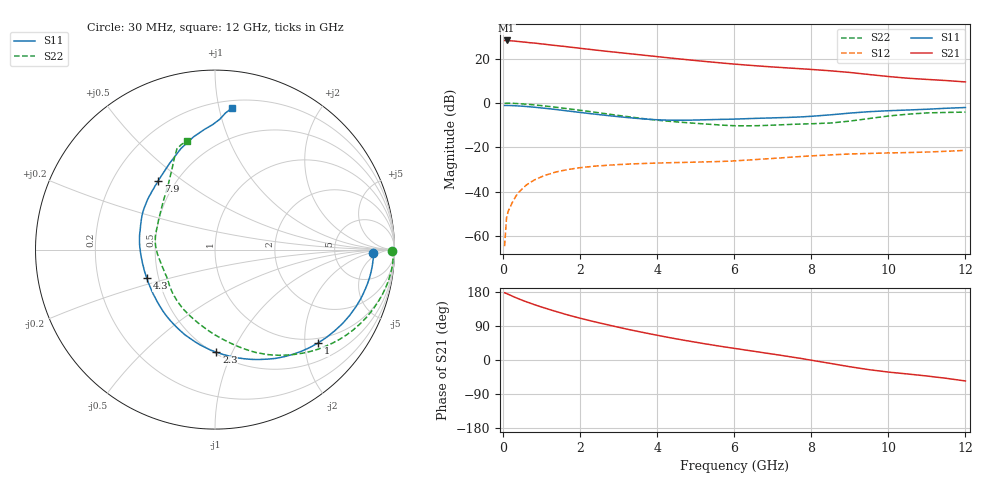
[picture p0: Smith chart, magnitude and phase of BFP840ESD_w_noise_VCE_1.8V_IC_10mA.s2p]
! Infineon Technologies  Discrete & RF Semiconductors
! BFP840ESD
! VCE =  1.8 V,  IC =  10 mA
! Common Emitter S-Parameters:  May 2012
# GHz  S  MA  R  50
!  f  S11  S21  S12  S22
! GHz  MAG  ANG  MAG  ANG  MAG  ANG  MAG  ANG
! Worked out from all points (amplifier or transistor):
!   93 points, 30 MHz to 12 GHz, reference 50 ohm
!   highest |S21| = 28.2 dB at 80 MHz (marker M1)
!   |S21| within 3 dB of that: start of sweep to 1.738 GHz
!   unconditionally stable (mu >= 1): 5.505 GHz to 9.382 GHz
!   at 1.1 GHz: K = 0.27, MSG = 29.4 dB, |S12| = -32.4 dB
!   at 4.2 GHz: K = 0.81, MSG = 23.7 dB, |S12| = -26.9 dB
!   at 12 GHz: K = 0.72, MSG = 15.4 dB, |S12| = -21.3 dB
!   lowest NFmin = 0.81 dB at 450 MHz
!   S11 on the Smith chart (normalised r, x): 30 MHz: 16, -3; 1 GHz: 0.88, -2.30; 2.3 GHz: 0.51, -0.87; 4.3 GHz: 0.43, -0.17; 7.9 GHz: 0.40, +0.41; 12 GHz: 0.26, +1.09
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0.03  0.8827 -1.2  25.64 177.5  0.0006 112.9  0.9867 -0.3
0.08  0.8831 -3.5  25.65 175.3  0.0026 90.3  0.9934 -2.5
0.33  0.8661 -14.6  24.59 164.1  0.0082 79.5  0.977 -11.7
0.5  0.848 -21.9  23.77 157.2  0.012 76.9  0.9552 -17.5
0.8  0.8054 -34.3  22.42 146.2  0.0185 66.9  0.9087 -27.0
1  0.775 -42.2  21.42 139.5  0.0221 62.3  0.8732 -33.0
1.3  0.726 -53.6  19.99 130.0  0.0271 55.5  0.816 -41.5
1.6  0.6743 -64.9  18.77 120.9  0.0309 49.7  0.7587 -49.4
2.1  0.5989 -82.3  16.68 107.5  0.0359 41.6  0.6688 -61.4
2.3  0.5717 -89.2  15.94 102.5  0.0375 39.2  0.6342 -65.9
2.8  0.5128 -106.0  14.27 90.7  0.0403 33.3  0.5536 -76.8
3.2  0.4733 -119.7  13.12 81.7  0.042 29.8  0.4978 -85.7
3.6  0.4421 -133.3  12.06 73.2  0.0434 27.0  0.4502 -95.2
4.1  0.4166 -150.6  10.85 63.2  0.0448 23.9  0.4036 -107.7
4.3  0.4126 -157.2  10.41 59.3  0.0453 23.0  0.3891 -112.7
5.2  0.4197 177.6  8.709 43.3  0.0473 20.2  0.3399 -133.4
6.1  0.4379 160.5  7.408 29.2  0.0505 19.9  0.3084 -153.2
7.9  0.4977 129.4  5.788 1.1  0.064 13.9  0.3403 167.6
8.5  0.5435 117.7  5.315 -9.1  0.0681 10.1  0.3556 152.0
9.5  0.6394 100.8  4.388 -25.6  0.0734 2.8  0.4483 125.4
10.5  0.697 91.0  3.625 -36.9  0.0768 -2.9  0.5612 113.7
12  0.7938 83.2  2.989 -55.3  0.086 -9.7  0.6248 104.2
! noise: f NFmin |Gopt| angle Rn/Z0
0.45  0.81  0.27  1  0.13
0.9  0.82  0.27  5  0.13
1.5  0.83  0.27  11  0.12
1.9  0.83  0.26  16  0.12
2.4  0.84  0.22  24  0.12
3.5  0.85  0.14  60  0.1
5.5  0.93  0.08  152  0.09
8  1.07  0.3  -125  0.11
10  1.21  0.47  -86  0.18
12  1.42  0.6  -71  0.28
